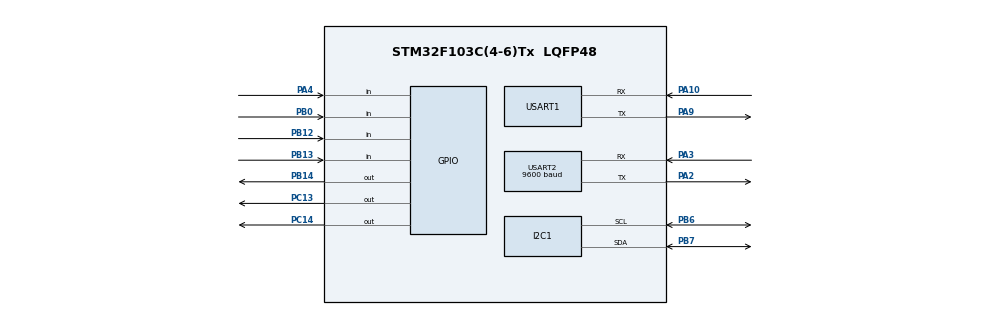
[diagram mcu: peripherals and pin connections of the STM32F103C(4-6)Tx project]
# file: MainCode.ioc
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Mcu.Family=STM32F1
Mcu.Name=STM32F103C(4-6)Tx
Mcu.Package=LQFP48
NVIC.PriorityGroup=NVIC_PRIORITYGROUP_4
PA10.Mode=Asynchronous
PA10.Signal=USART1_RX
PA13.Mode=Serial_Wire
PA13.Signal=SYS_JTMS-SWDIO
PA14.Mode=Serial_Wire
PA14.Signal=SYS_JTCK-SWCLK
PA2.Mode=Asynchronous
PA2.Signal=USART2_TX
PA3.Mode=Asynchronous
PA3.Signal=USART2_RX
PA4.Signal=GPIO_Input
PA9.Mode=Asynchronous
PA9.Signal=USART1_TX
PB0.Signal=GPIO_Input
PB12.GPIO_PuPd=GPIO_NOPULL
PB12.Signal=GPIO_Input
PB13.GPIO_PuPd=GPIO_PULLUP
PB13.Signal=GPIO_Input
PB14.Signal=GPIO_Output
PB6.Mode=I2C
PB6.Signal=I2C1_SCL
PB7.Mode=I2C
PB7.Signal=I2C1_SDA
PC13-TAMPER-RTC.Signal=GPIO_Output
PC14-OSC32_IN.Signal=GPIO_Output
PD0-OSC_IN.Mode=HSE-External-Oscillator
PD0-OSC_IN.Signal=RCC_OSC_IN
PD1-OSC_OUT.Mode=HSE-External-Oscillator
PD1-OSC_OUT.Signal=RCC_OSC_OUT
ProjectManager.HeapSize=0x200
ProjectManager.StackSize=0x400
ProjectManager.TargetToolchain=MDK-ARM V5.32
RCC.APB1Freq_Value=8000000
RCC.APB2Freq_Value=8000000
RCC.PLLSourceVirtual=RCC_PLLSOURCE_HSE
RCC.SYSCLKSource=RCC_SYSCLKSOURCE_HSE
RCC.USBFreq_Value=16000000
USART1.VirtualMode=VM_ASYNC
USART2.BaudRate=9600
USART2.VirtualMode=VM_ASYNC
board=custom

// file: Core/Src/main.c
/* USER CODE BEGIN Header */
/**
  ******************************************************************************
  * @file           : main.c
  * @brief          : Main program body
  ******************************************************************************
  * @attention
  *
  * Copyright (c) 2025 STMicroelectronics.
  * All rights reserved.
  *
  * This software is licensed under terms that can be found in the LICENSE file
  * in the root directory of this software component.
  * If no LICENSE file comes with this software, it is provided AS-IS.
  *
  ******************************************************************************
  */
/* USER CODE END Header */
#include "main.h"

/* USER CODE BEGIN Includes */
#include "delay.h"

/* USER CODE END Includes */

/* USER CODE BEGIN PD */
#define CMDACTIVE1 0xA1
#define CMDINACTIVE1 0xA2

#define CMDACTIVE2 0xB1
#define CMDINACTIVE2 0xB2

#define CMDOFFKV1 0xC1
#define CMDOFFKV2 0xC2
/* USER CODE END PD */

I2C_HandleTypeDef hi2c1;

UART_HandleTypeDef huart1;
UART_HandleTypeDef huart2;

/* USER CODE BEGIN PV */

unsigned long TimeCount=0;
char Arlarm=0;
/* USER CODE END PV */

void SystemClock_Config(void);
static void MX_GPIO_Init(void);
static void MX_I2C1_Init(void);
static void MX_USART1_UART_Init(void);
static void MX_USART2_UART_Init(void);

/* USER CODE BEGIN 0 */
void OnLED()
{
	HAL_GPIO_WritePin(GPIOB,GPIO_PIN_14,GPIO_PIN_SET);
}
void OffLED()
{
	HAL_GPIO_WritePin(GPIOB,GPIO_PIN_14,GPIO_PIN_RESET);
}

void OnBuzzer()
{
	HAL_GPIO_WritePin(GPIOC,GPIO_PIN_14,GPIO_PIN_SET);
}
void OffBuzzer()
{
	HAL_GPIO_WritePin(GPIOC,GPIO_PIN_14,GPIO_PIN_RESET);
}

void SendArlarm()
{
	uint8_t UARTSend[1];
	UARTSend[0]=CMDACTIVE1;
	HAL_UART_Transmit(&huart2,UARTSend, sizeof(UARTSend), 100);
}
void SendOff()
{
	uint8_t UARTSend[1];
	UARTSend[0]=CMDINACTIVE1;
	HAL_UART_Transmit(&huart2,UARTSend, sizeof(UARTSend), 100);
}

void CheckLora()
{
	uint8_t UARTData[1]={0};
	if(HAL_UART_Receive(&huart2, (uint8_t *)UARTData, 1, 10) == HAL_OK)
	{
		if(UARTData[0]==CMDOFFKV1)
		{
			OffBuzzer();
		}
	}

}

/* USER CODE END 0 */

int main(void)
{

  /* MCU Configuration--------------------------------------------------------*/

  /* Reset of all peripherals, Initializes the Flash interface and the Systick. */
  HAL_Init();

  /* Configure the system clock */
  SystemClock_Config();

  /* Initialize all configured peripherals */
  MX_GPIO_Init();
  MX_I2C1_Init();
  MX_USART1_UART_Init();
  MX_USART2_UART_Init();
  /* USER CODE BEGIN 2 */
    delay_init(8);
	  OnLED();
		HAL_Delay(30000);
		OffLED();
		OnBuzzer();
		HAL_Delay(1000);
		OffBuzzer();
  /* USER CODE END 2 */

  /* Infinite loop */
  /* USER CODE BEGIN WHILE */
  while (1)
  {
		CheckLora();
		if(HAL_GPIO_ReadPin(GPIOB,GPIO_PIN_12)==GPIO_PIN_SET)
		{
			HAL_Delay(500);
			if(HAL_GPIO_ReadPin(GPIOB,GPIO_PIN_12)==GPIO_PIN_SET)
			{
				OnLED();
				if(Arlarm==0)
				{
					Arlarm=1;
					OnBuzzer();
					SendArlarm();
				}
		  }
		}
		else
		{

				OffLED();
				if(Arlarm==1)
				{
					Arlarm=0;
					SendOff();
				}

		}

    /* USER CODE END WHILE */

  }
}

void SystemClock_Config(void)
{
  RCC_OscInitTypeDef RCC_OscInitStruct = {0};
  RCC_ClkInitTypeDef RCC_ClkInitStruct = {0};

  /** Initializes the RCC Oscillators according to the specified parameters
  * in the RCC_OscInitTypeDef structure.
  */
  RCC_OscInitStruct.OscillatorType = RCC_OSCILLATORTYPE_HSE;
  RCC_OscInitStruct.HSEState = RCC_HSE_ON;
  RCC_OscInitStruct.PLL.PLLState = RCC_PLL_NONE;
  if (HAL_RCC_OscConfig(&RCC_OscInitStruct) != HAL_OK)
  {
    Error_Handler();
  }

  /** Initializes the CPU, AHB and APB buses clocks
  */
  RCC_ClkInitStruct.ClockType = RCC_CLOCKTYPE_HCLK|RCC_CLOCKTYPE_SYSCLK
                              |RCC_CLOCKTYPE_PCLK1|RCC_CLOCKTYPE_PCLK2;
  RCC_ClkInitStruct.SYSCLKSource = RCC_SYSCLKSOURCE_HSE;
  RCC_ClkInitStruct.AHBCLKDivider = RCC_SYSCLK_DIV1;
  RCC_ClkInitStruct.APB1CLKDivider = RCC_HCLK_DIV1;
  RCC_ClkInitStruct.APB2CLKDivider = RCC_HCLK_DIV1;

  if (HAL_RCC_ClockConfig(&RCC_ClkInitStruct, FLASH_LATENCY_0) != HAL_OK)
  {
    Error_Handler();
  }
}

static void MX_I2C1_Init(void)
{

  hi2c1.Instance = I2C1;
  hi2c1.Init.ClockSpeed = 100000;
  hi2c1.Init.DutyCycle = I2C_DUTYCYCLE_2;
  hi2c1.Init.OwnAddress1 = 0;
  hi2c1.Init.AddressingMode = I2C_ADDRESSINGMODE_7BIT;
  hi2c1.Init.DualAddressMode = I2C_DUALADDRESS_DISABLE;
  hi2c1.Init.OwnAddress2 = 0;
  hi2c1.Init.GeneralCallMode = I2C_GENERALCALL_DISABLE;
  hi2c1.Init.NoStretchMode = I2C_NOSTRETCH_DISABLE;
  if (HAL_I2C_Init(&hi2c1) != HAL_OK)
  {
    Error_Handler();
  }

}

static void MX_USART1_UART_Init(void)
{

  huart1.Instance = USART1;
  huart1.Init.BaudRate = 115200;
  huart1.Init.WordLength = UART_WORDLENGTH_8B;
  huart1.Init.StopBits = UART_STOPBITS_1;
  huart1.Init.Parity = UART_PARITY_NONE;
  huart1.Init.Mode = UART_MODE_TX_RX;
  huart1.Init.HwFlowCtl = UART_HWCONTROL_NONE;
  huart1.Init.OverSampling = UART_OVERSAMPLING_16;
  if (HAL_UART_Init(&huart1) != HAL_OK)
  {
    Error_Handler();
  }

}

static void MX_USART2_UART_Init(void)
{

  huart2.Instance = USART2;
  huart2.Init.BaudRate = 9600;
  huart2.Init.WordLength = UART_WORDLENGTH_8B;
  huart2.Init.StopBits = UART_STOPBITS_1;
  huart2.Init.Parity = UART_PARITY_NONE;
  huart2.Init.Mode = UART_MODE_TX_RX;
  huart2.Init.HwFlowCtl = UART_HWCONTROL_NONE;
  huart2.Init.OverSampling = UART_OVERSAMPLING_16;
  if (HAL_UART_Init(&huart2) != HAL_OK)
  {
    Error_Handler();
  }

}

static void MX_GPIO_Init(void)
{
  GPIO_InitTypeDef GPIO_InitStruct = {0};

  /* GPIO Ports Clock Enable */
  __HAL_RCC_GPIOC_CLK_ENABLE();
  __HAL_RCC_GPIOD_CLK_ENABLE();
  __HAL_RCC_GPIOA_CLK_ENABLE();
  __HAL_RCC_GPIOB_CLK_ENABLE();

  /*Configure GPIO pin Output Level */
  HAL_GPIO_WritePin(GPIOC, GPIO_PIN_13|GPIO_PIN_14, GPIO_PIN_RESET);

  /*Configure GPIO pin Output Level */
  HAL_GPIO_WritePin(GPIOB, GPIO_PIN_14, GPIO_PIN_RESET);

  /*Configure GPIO pins : PC13 PC14 */
  GPIO_InitStruct.Pin = GPIO_PIN_13|GPIO_PIN_14;
  GPIO_InitStruct.Mode = GPIO_MODE_OUTPUT_PP;
  GPIO_InitStruct.Pull = GPIO_NOPULL;
  GPIO_InitStruct.Speed = GPIO_SPEED_FREQ_LOW;
  HAL_GPIO_Init(GPIOC, &GPIO_InitStruct);

  /*Configure GPIO pin : PA4 */
  GPIO_InitStruct.Pin = GPIO_PIN_4;
  GPIO_InitStruct.Mode = GPIO_MODE_INPUT;
  GPIO_InitStruct.Pull = GPIO_NOPULL;
  HAL_GPIO_Init(GPIOA, &GPIO_InitStruct);

  /*Configure GPIO pins : PB0 PB12 */
  GPIO_InitStruct.Pin = GPIO_PIN_0|GPIO_PIN_12;
  GPIO_InitStruct.Mode = GPIO_MODE_INPUT;
  GPIO_InitStruct.Pull = GPIO_NOPULL;
  HAL_GPIO_Init(GPIOB, &GPIO_InitStruct);

  /*Configure GPIO pin : PB13 */
  GPIO_InitStruct.Pin = GPIO_PIN_13;
  GPIO_InitStruct.Mode = GPIO_MODE_INPUT;
  GPIO_InitStruct.Pull = GPIO_PULLUP;
  HAL_GPIO_Init(GPIOB, &GPIO_InitStruct);

  /*Configure GPIO pin : PB14 */
  GPIO_InitStruct.Pin = GPIO_PIN_14;
  GPIO_InitStruct.Mode = GPIO_MODE_OUTPUT_PP;
  GPIO_InitStruct.Pull = GPIO_NOPULL;
  GPIO_InitStruct.Speed = GPIO_SPEED_FREQ_LOW;
  HAL_GPIO_Init(GPIOB, &GPIO_InitStruct);

}

void Error_Handler(void)
{
  __disable_irq();
  while (1)
  {
  }
}
